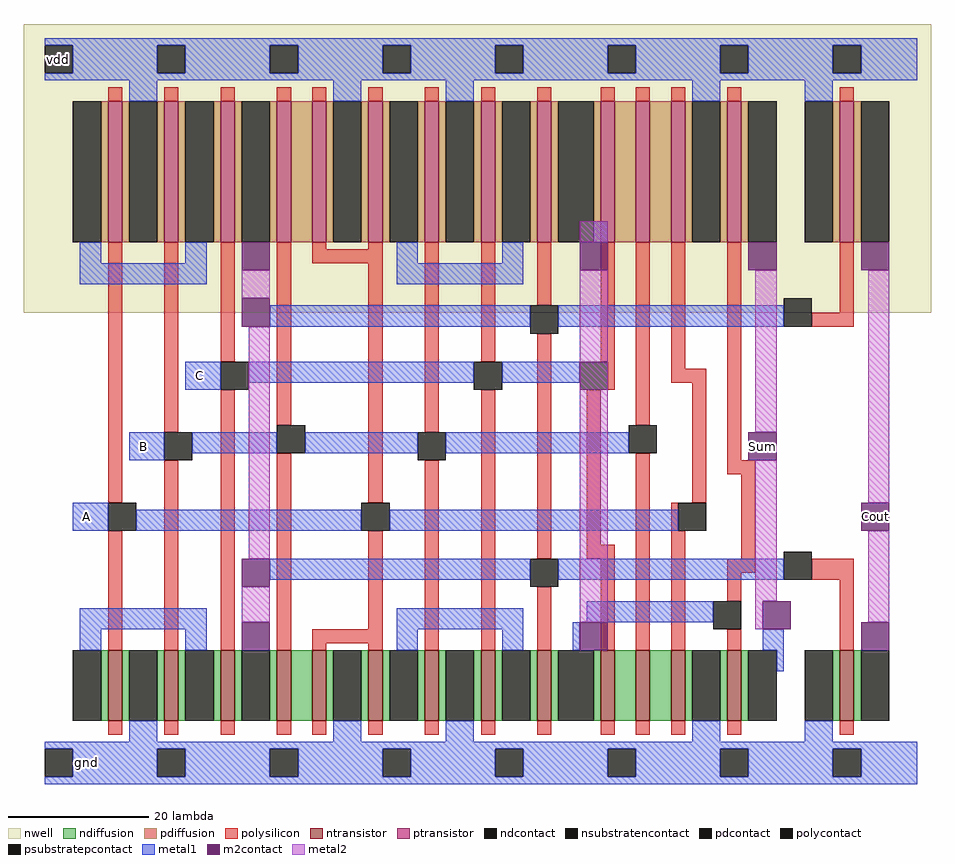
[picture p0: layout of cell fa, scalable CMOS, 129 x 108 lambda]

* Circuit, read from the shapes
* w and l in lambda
.subckt fa A B C Cout Sum gnd vdd
M1 gnd A n1 gnd nfet w=10 l=2
M2 n1 B gnd gnd nfet w=10 l=2
M3 n2 C n1 gnd nfet w=10 l=2
M4 n3 B n2 gnd nfet w=10 l=2
M5 gnd A n3 gnd nfet w=10 l=2
M6 n4 A gnd gnd nfet w=10 l=2
M7 gnd B n4 gnd nfet w=10 l=2
M8 n4 C gnd gnd nfet w=10 l=2
M9 n5 n2 n4 gnd nfet w=10 l=2
M10 n6 C n5 gnd nfet w=10 l=2
M11 n7 B n6 gnd nfet w=10 l=2
M12 gnd A n7 gnd nfet w=10 l=2
M13 Sum n5 gnd gnd nfet w=10 l=2
M14 Cout n2 gnd gnd nfet w=10 l=2
M15 vdd A n8 vdd pfet w=20 l=2
M16 n8 B vdd vdd pfet w=20 l=2
M17 n2 C n8 vdd pfet w=20 l=2
M18 n9 B n2 vdd pfet w=20 l=2
M19 vdd A n9 vdd pfet w=20 l=2
M20 n10 A vdd vdd pfet w=20 l=2
M21 vdd B n10 vdd pfet w=20 l=2
M22 n10 C vdd vdd pfet w=20 l=2
M23 n5 n2 n10 vdd pfet w=20 l=2
M24 n11 C n5 vdd pfet w=20 l=2
M25 n12 B n11 vdd pfet w=20 l=2
M26 vdd A n12 vdd pfet w=20 l=2
M27 Sum n5 vdd vdd pfet w=20 l=2
M28 Cout n2 vdd vdd pfet w=20 l=2
.ends

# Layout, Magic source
magic
tech scmos
<< nwell >>
rect -5 64 124 105
<< ntransistor >>
rect 7 6 9 16
rect 15 6 17 16
rect 23 6 25 16
rect 31 6 33 16
rect 36 6 38 16
rect 44 6 46 16
rect 52 6 54 16
rect 60 6 62 16
rect 68 6 70 16
rect 77 6 79 16
rect 82 6 84 16
rect 87 6 89 16
rect 95 6 97 16
rect 111 6 113 16
<< ptransistor >>
rect 7 74 9 94
rect 15 74 17 94
rect 23 74 25 94
rect 31 74 33 94
rect 36 74 38 94
rect 44 74 46 94
rect 52 74 54 94
rect 60 74 62 94
rect 68 74 70 94
rect 77 74 79 94
rect 82 74 84 94
rect 87 74 89 94
rect 95 74 97 94
rect 111 74 113 94
<< ndiffusion >>
rect 6 6 7 16
rect 9 6 10 16
rect 14 6 15 16
rect 17 6 18 16
rect 22 6 23 16
rect 25 6 26 16
rect 30 6 31 16
rect 33 6 36 16
rect 38 6 39 16
rect 43 6 44 16
rect 46 6 47 16
rect 51 6 52 16
rect 54 6 55 16
rect 59 6 60 16
rect 62 6 63 16
rect 67 6 68 16
rect 70 6 71 16
rect 76 6 77 16
rect 79 6 82 16
rect 84 6 87 16
rect 89 6 90 16
rect 94 6 95 16
rect 97 6 98 16
rect 110 6 111 16
rect 113 6 114 16
<< pdiffusion >>
rect 6 74 7 94
rect 9 74 10 94
rect 14 74 15 94
rect 17 74 18 94
rect 22 74 23 94
rect 25 74 26 94
rect 30 74 31 94
rect 33 74 36 94
rect 38 74 39 94
rect 43 74 44 94
rect 46 74 47 94
rect 51 74 52 94
rect 54 74 55 94
rect 59 74 60 94
rect 62 74 63 94
rect 67 74 68 94
rect 70 74 71 94
rect 76 74 77 94
rect 79 74 82 94
rect 84 74 87 94
rect 89 74 90 94
rect 94 74 95 94
rect 97 74 98 94
rect 110 74 111 94
rect 113 74 114 94
<< ndcontact >>
rect 2 6 6 16
rect 10 6 14 16
rect 18 6 22 16
rect 26 6 30 16
rect 39 6 43 16
rect 47 6 51 16
rect 55 6 59 16
rect 63 6 67 16
rect 71 6 76 16
rect 90 6 94 16
rect 98 6 102 16
rect 106 6 110 16
rect 114 6 118 16
<< pdcontact >>
rect 2 74 6 94
rect 10 74 14 94
rect 18 74 22 94
rect 26 74 30 94
rect 39 74 43 94
rect 47 74 51 94
rect 55 74 59 94
rect 63 74 67 94
rect 71 74 76 94
rect 90 74 94 94
rect 98 74 102 94
rect 106 74 110 94
rect 114 74 118 94
<< psubstratepcontact >>
rect -2 -2 2 2
rect 14 -2 18 2
rect 30 -2 34 2
rect 46 -2 50 2
rect 62 -2 66 2
rect 78 -2 82 2
rect 94 -2 98 2
rect 110 -2 114 2
<< nsubstratencontact >>
rect -2 98 2 102
rect 14 98 18 102
rect 30 98 34 102
rect 46 98 50 102
rect 62 98 66 102
rect 78 98 82 102
rect 94 98 98 102
rect 110 98 114 102
<< polysilicon >>
rect 7 94 9 96
rect 15 94 17 96
rect 23 94 25 96
rect 31 94 33 96
rect 36 94 38 96
rect 44 94 46 96
rect 52 94 54 96
rect 60 94 62 96
rect 68 94 70 96
rect 77 94 79 96
rect 82 94 84 96
rect 87 94 89 96
rect 95 94 97 96
rect 111 94 113 96
rect 7 37 9 74
rect 15 47 17 74
rect 23 57 25 74
rect 7 16 9 33
rect 15 16 17 43
rect 23 16 25 53
rect 31 48 33 74
rect 36 73 38 74
rect 44 73 46 74
rect 36 71 46 73
rect 31 16 33 44
rect 44 37 46 71
rect 52 47 54 74
rect 60 57 62 74
rect 68 65 70 74
rect 44 19 46 33
rect 36 17 46 19
rect 36 16 38 17
rect 44 16 46 17
rect 52 16 54 43
rect 60 16 62 53
rect 68 29 70 61
rect 77 57 79 74
rect 78 53 79 57
rect 75 31 77 53
rect 82 48 84 74
rect 87 56 89 74
rect 87 54 92 56
rect 75 29 79 31
rect 68 16 70 25
rect 77 16 79 29
rect 82 16 84 44
rect 90 37 92 54
rect 95 43 97 74
rect 111 64 113 74
rect 107 62 113 64
rect 95 41 99 43
rect 87 33 88 37
rect 87 16 89 33
rect 97 29 99 41
rect 95 27 99 29
rect 95 23 97 27
rect 107 26 113 29
rect 95 16 97 19
rect 111 16 113 26
rect 7 4 9 6
rect 15 4 17 6
rect 23 4 25 6
rect 31 4 33 6
rect 36 4 38 6
rect 44 4 46 6
rect 52 4 54 6
rect 60 4 62 6
rect 68 4 70 6
rect 77 4 79 6
rect 82 4 84 6
rect 87 4 89 6
rect 95 4 97 6
rect 111 4 113 6
<< polycontact >>
rect 23 53 27 57
rect 15 43 19 47
rect 7 33 11 37
rect 31 44 35 48
rect 67 61 71 65
rect 59 53 63 57
rect 51 43 55 47
rect 43 33 47 37
rect 74 53 78 57
rect 81 44 85 48
rect 67 25 71 29
rect 103 62 107 66
rect 88 33 92 37
rect 103 26 107 30
rect 93 19 97 23
<< metal1 >>
rect -2 102 122 103
rect 2 98 14 102
rect 18 98 30 102
rect 34 98 46 102
rect 50 98 62 102
rect 66 98 78 102
rect 82 98 94 102
rect 98 98 110 102
rect 114 98 122 102
rect -2 97 122 98
rect 10 94 14 97
rect 39 94 43 97
rect 55 94 59 97
rect 90 94 94 97
rect 106 94 110 97
rect 76 74 78 77
rect 3 71 6 74
rect 18 71 21 74
rect 3 68 21 71
rect 48 71 51 74
rect 63 71 66 74
rect 48 68 66 71
rect 30 62 67 65
rect 71 62 103 65
rect 18 53 23 57
rect 27 54 59 57
rect 63 54 74 57
rect 10 43 15 47
rect 19 44 31 47
rect 35 44 51 47
rect 55 44 81 47
rect 2 33 7 37
rect 11 33 43 36
rect 47 33 88 36
rect 30 26 67 29
rect 71 26 103 29
rect 3 19 21 22
rect 3 16 6 19
rect 18 16 21 19
rect 48 19 66 22
rect 75 20 93 23
rect 48 16 51 19
rect 63 16 66 19
rect 73 16 74 20
rect 100 16 103 19
rect 102 13 103 16
rect 10 3 14 6
rect 39 3 43 6
rect 55 3 59 6
rect 90 3 94 6
rect 106 3 110 6
rect -2 2 122 3
rect 2 -2 14 2
rect 18 -2 30 2
rect 34 -2 46 2
rect 50 -2 62 2
rect 66 -2 78 2
rect 82 -2 94 2
rect 98 -2 110 2
rect 114 -2 122 2
rect -2 -3 122 -2
<< m2contact >>
rect 26 70 30 74
rect 74 70 78 74
rect 98 70 102 74
rect 114 70 118 74
rect 26 62 30 66
rect 98 43 102 47
rect 114 33 118 37
rect 26 25 30 29
rect 26 16 30 20
rect 74 16 78 20
rect 100 19 104 23
rect 114 16 118 20
<< metal2 >>
rect 74 74 78 77
rect 26 66 30 70
rect 27 29 30 62
rect 26 20 30 25
rect 74 20 78 70
rect 99 47 102 70
rect 99 23 102 43
rect 115 37 118 70
rect 99 19 100 23
rect 115 20 118 33
<< labels >>
rlabel nsubstratencontact 0 100 0 100 4 vdd
rlabel metal1 4 0 4 0 1 gnd
rlabel metal1 4 35 4 35 1 A
rlabel m2contact 116 35 116 35 1 Cout
rlabel m2contact 100 45 100 45 1 Sum
rlabel metal1 12 45 12 45 1 B
rlabel metal1 20 55 20 55 1 C
<< end >>
